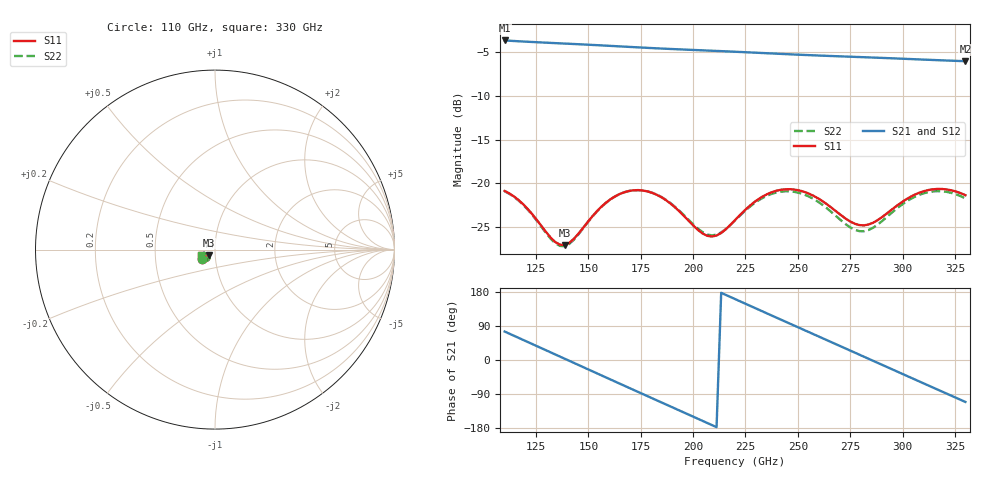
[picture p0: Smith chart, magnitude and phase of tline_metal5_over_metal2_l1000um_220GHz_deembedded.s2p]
! Created with skrf 2.2.0 (http://scikit-rf.org).
# GHz S DB R 50.0
! Port[1] = P1
! Port[2] = P2
!freq dBS11 angS11 dBS21 angS21 dBS12 angS12 dBS22 angS22
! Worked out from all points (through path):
!   101 points, 110 GHz to 330 GHz, reference 50 ohm
!   highest |S21| = -3.67 dB at 110 GHz (marker M1); lowest = -6.0 dB at 330 GHz (marker M2)
!   group delay of S21, straight-line fit = 6.89 ps
!   lowest |S11| = -27.0 dB at 138.6 GHz (marker M3), VSWR 1.09, Z = 46.7 - j2.75 ohm
!   |S11| at or under -10 dB: start of sweep to end of sweep
!   |S22| runs from -27.2 to -20.8 dB; largest |S21 - S12| = 6.6e-14
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110  -20.85 -145.7  -3.67 75.2  -3.67 75.2  -20.89 -145.9
125.4  -24.17 -159.8  -3.87 36.6  -3.87 36.6  -24.26 -160.0
138.6  -27.02 -138.8  -4.03 3.6  -4.03 3.6  -27.16 -138.6
147.4  -25.08 -123.2  -4.13 -18.5  -4.13 -18.5  -25.15 -122.7
158.4  -22.19 -125.8  -4.26 -46.0  -4.26 -46.0  -22.22 -125.5
167.2  -20.99 -135.7  -4.38 -68.0  -4.38 -68.0  -21.00 -135.5
176  -20.80 -147.0  -4.49 -89.9  -4.49 -89.9  -20.79 -147.0
184.8  -21.56 -157.1  -4.59 -111.7  -4.59 -111.7  -21.53 -157.2
202.4  -25.32 -157.9  -4.78 -155.4  -4.78 -155.4  -25.18 -158.7
211.2  -25.94 -141.3  -4.87 -177.3  -4.87 -177.3  -25.84 -143.2
220  -24.19 -130.1  -4.96 160.9  -4.96 160.9  -24.23 -132.4
231  -21.82 -132.6  -5.08 133.6  -5.08 133.6  -21.96 -134.8
239.8  -20.83 -140.8  -5.18 111.8  -5.18 111.8  -21.03 -143.0
248.6  -20.70 -150.3  -5.28 90.0  -5.28 90.0  -20.97 -152.5
257.4  -21.40 -158.3  -5.37 68.3  -5.37 68.3  -21.75 -160.7
268.4  -23.20 -161.7  -5.47 41.2  -5.47 41.2  -23.75 -163.7
277.2  -24.60 -154.5  -5.55 19.5  -5.55 19.5  -25.29 -155.1
283.8  -24.68 -144.9  -5.60 3.2  -5.60 3.2  -25.31 -144.1
294.8  -22.99 -135.9  -5.71 -24.0  -5.71 -24.0  -23.35 -134.6
312.4  -20.74 -144.7  -5.88 -67.4  -5.88 -67.4  -20.98 -144.6
321.2  -20.69 -152.5  -5.96 -89.0  -5.96 -89.0  -20.96 -152.9
330  -21.33 -158.8  -6.04 -110.7  -6.04 -110.7  -21.71 -159.6
